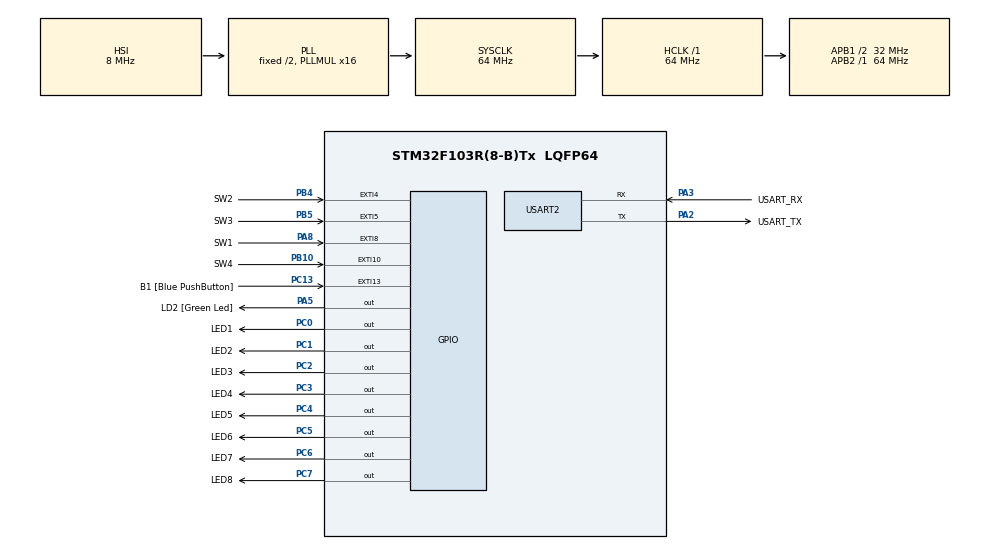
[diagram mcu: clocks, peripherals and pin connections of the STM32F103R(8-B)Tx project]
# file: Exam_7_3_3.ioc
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Mcu.Family=STM32F1
Mcu.Name=STM32F103R(8-B)Tx
Mcu.Package=LQFP64
NVIC.EXTI15_10_IRQn=true\:0\:0\:false\:false\:true\:true\:true\:true
NVIC.EXTI4_IRQn=true\:0\:0\:false\:false\:true\:true\:true\:true
NVIC.EXTI9_5_IRQn=true\:0\:0\:false\:false\:true\:true\:true\:true
NVIC.PriorityGroup=NVIC_PRIORITYGROUP_4
PA13.GPIO_Label=TMS
PA13.Mode=Serial_Wire
PA13.Signal=SYS_JTMS-SWDIO
PA14.GPIO_Label=TCK
PA14.Mode=Serial_Wire
PA14.Signal=SYS_JTCK-SWCLK
PA2.GPIO_Label=USART_TX
PA2.GPIO_Mode=GPIO_MODE_AF_PP
PA2.GPIO_PuPd=GPIO_NOPULL
PA2.GPIO_Speed=GPIO_SPEED_FREQ_LOW
PA2.Mode=Asynchronous
PA2.Signal=USART2_TX
PA3.GPIO_Label=USART_RX
PA3.GPIO_Mode=GPIO_MODE_AF_PP
PA3.GPIO_PuPd=GPIO_NOPULL
PA3.GPIO_Speed=GPIO_SPEED_FREQ_LOW
PA3.Mode=Asynchronous
PA3.Signal=USART2_RX
PA5.GPIO_Label=LD2 [Green Led]
PA5.GPIO_ModeDefaultOutputPP=GPIO_MODE_OUTPUT_PP
PA5.GPIO_PuPd=GPIO_NOPULL
PA5.GPIO_Speed=GPIO_SPEED_FREQ_LOW
PA5.Signal=GPIO_Output
PA8.GPIO_Label=SW1
PA8.GPIO_ModeDefaultEXTI=GPIO_MODE_IT_FALLING
PA8.Signal=GPXTI8
PB10.GPIO_Label=SW4
PB10.GPIO_ModeDefaultEXTI=GPIO_MODE_IT_FALLING
PB10.Signal=GPXTI10
PB3.GPIO_Label=SWO
PB3.Signal=SYS_JTDO-TRACESWO
PB4.GPIO_Label=SW2
PB4.GPIO_ModeDefaultEXTI=GPIO_MODE_IT_FALLING
PB4.Signal=GPXTI4
PB5.GPIO_Label=SW3
PB5.GPIO_ModeDefaultEXTI=GPIO_MODE_IT_FALLING
PB5.Signal=GPXTI5
PC0.GPIO_Label=LED1
PC0.Signal=GPIO_Output
PC1.GPIO_Label=LED2
PC1.Signal=GPIO_Output
PC13-TAMPER-RTC.GPIO_Label=B1 [Blue PushButton]
PC13-TAMPER-RTC.GPIO_PuPd=GPIO_NOPULL
PC13-TAMPER-RTC.Signal=GPXTI13
PC14-OSC32_IN.Mode=LSE-External-Oscillator
PC14-OSC32_IN.Signal=RCC_OSC32_IN
PC15-OSC32_OUT.Mode=LSE-External-Oscillator
PC15-OSC32_OUT.Signal=RCC_OSC32_OUT
PC2.GPIO_Label=LED3
PC2.Signal=GPIO_Output
PC3.GPIO_Label=LED4
PC3.Signal=GPIO_Output
PC4.GPIO_Label=LED5
PC4.Signal=GPIO_Output
PC5.GPIO_Label=LED6
PC5.Signal=GPIO_Output
PC6.GPIO_Label=LED7
PC6.Signal=GPIO_Output
PC7.GPIO_Label=LED8
PC7.Signal=GPIO_Output
PD0-OSC_IN.Mode=HSE-External-Clock-Source
PD0-OSC_IN.Signal=RCC_OSC_IN
PD1-OSC_OUT.Mode=HSE-External-Clock-Source
PD1-OSC_OUT.Signal=RCC_OSC_OUT
ProjectManager.HeapSize=0x200
ProjectManager.StackSize=0x400
ProjectManager.TargetToolchain=STM32CubeIDE
RCC.AHBFreq_Value=64000000
RCC.APB1CLKDivider=RCC_HCLK_DIV2
RCC.APB1Freq_Value=32000000
RCC.APB1TimFreq_Value=64000000
RCC.APB2Freq_Value=64000000
RCC.APB2TimFreq_Value=64000000
RCC.HCLKFreq_Value=64000000
RCC.PLLMUL=RCC_PLL_MUL16
RCC.RTCClockSelection=RCC_RTCCLKSOURCE_LSE
RCC.SYSCLKFreq_VALUE=64000000
RCC.SYSCLKSource=RCC_SYSCLKSOURCE_PLLCLK
RCC.USBFreq_Value=64000000
USART2.VirtualMode=VM_ASYNC
board=NUCLEO-F103RB

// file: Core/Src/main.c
/* USER CODE BEGIN Header */
/**
  ******************************************************************************
  * @file           : main.c
  * @brief          : Main program body
  ******************************************************************************
  * @attention
  *
  * Copyright (c) 2022 STMicroelectronics.
  * All rights reserved.
  *
  * This software is licensed under terms that can be found in the LICENSE file
  * in the root directory of this software component.
  * If no LICENSE file comes with this software, it is provided AS-IS.
  *
  ******************************************************************************
  */
/* USER CODE END Header */
#include "main.h"

 UART_HandleTypeDef huart2;

/* USER CODE BEGIN PV */
 uint8_t flag_SW1 = 0;
 uint8_t flag_SW2 = 0;
 uint8_t flag_SW3 = 0;
 uint8_t flag_SW4 = 0;
/* USER CODE END PV */

void SystemClock_Config(void);
static void MX_GPIO_Init(void);
static void MX_USART2_UART_Init(void);

/* USER CODE BEGIN 0 */
void HAL_GPIO_EXTI_Callback(uint16_t GPIO_Pin) {
	  if(GPIO_Pin == GPIO_PIN_8) {
		  flag_SW1 = !flag_SW1;
	  }
	  if(GPIO_Pin == GPIO_PIN_4) {
		  flag_SW2 = !flag_SW2;
	  }
	  if(GPIO_Pin == GPIO_PIN_5) {
		  flag_SW3 = !flag_SW3;
	  }
	  if(GPIO_Pin == GPIO_PIN_10) {
	  	  flag_SW4 = !flag_SW4;
	  }
}
/* USER CODE END 0 */

int main(void)
{

  /* MCU Configuration--------------------------------------------------------*/

  /* Reset of all peripherals, Initializes the Flash interface and the Systick. */
  HAL_Init();

  /* Configure the system clock */
  SystemClock_Config();

  /* Initialize all configured peripherals */
  MX_GPIO_Init();
  MX_USART2_UART_Init();

  /* Infinite loop */
  /* USER CODE BEGIN WHILE */
  while (1)
  {
	  if(flag_SW1 == 1) {
		  HAL_GPIO_TogglePin(GPIOC, 0x03);
	  }
	  if(flag_SW2 == 1) {
		  HAL_GPIO_TogglePin(GPIOC, 0x0c);
	  }
	  if(flag_SW3 == 1) {
		  HAL_GPIO_TogglePin(GPIOC, 0x30);
	  }
	  if(flag_SW4 == 1) {
		  HAL_GPIO_TogglePin(GPIOC, 0xc0);
	  }
    /* USER CODE END WHILE */

  }
}

void SystemClock_Config(void)
{
  RCC_OscInitTypeDef RCC_OscInitStruct = {0};
  RCC_ClkInitTypeDef RCC_ClkInitStruct = {0};

  /** Initializes the RCC Oscillators according to the specified parameters
  * in the RCC_OscInitTypeDef structure.
  */
  RCC_OscInitStruct.OscillatorType = RCC_OSCILLATORTYPE_HSI;
  RCC_OscInitStruct.HSIState = RCC_HSI_ON;
  RCC_OscInitStruct.HSICalibrationValue = RCC_HSICALIBRATION_DEFAULT;
  RCC_OscInitStruct.PLL.PLLState = RCC_PLL_ON;
  RCC_OscInitStruct.PLL.PLLSource = RCC_PLLSOURCE_HSI_DIV2;
  RCC_OscInitStruct.PLL.PLLMUL = RCC_PLL_MUL16;
  if (HAL_RCC_OscConfig(&RCC_OscInitStruct) != HAL_OK)
  {
    Error_Handler();
  }

  /** Initializes the CPU, AHB and APB buses clocks
  */
  RCC_ClkInitStruct.ClockType = RCC_CLOCKTYPE_HCLK|RCC_CLOCKTYPE_SYSCLK
                              |RCC_CLOCKTYPE_PCLK1|RCC_CLOCKTYPE_PCLK2;
  RCC_ClkInitStruct.SYSCLKSource = RCC_SYSCLKSOURCE_PLLCLK;
  RCC_ClkInitStruct.AHBCLKDivider = RCC_SYSCLK_DIV1;
  RCC_ClkInitStruct.APB1CLKDivider = RCC_HCLK_DIV2;
  RCC_ClkInitStruct.APB2CLKDivider = RCC_HCLK_DIV1;

  if (HAL_RCC_ClockConfig(&RCC_ClkInitStruct, FLASH_LATENCY_2) != HAL_OK)
  {
    Error_Handler();
  }
}

static void MX_USART2_UART_Init(void)
{

  huart2.Instance = USART2;
  huart2.Init.BaudRate = 115200;
  huart2.Init.WordLength = UART_WORDLENGTH_8B;
  huart2.Init.StopBits = UART_STOPBITS_1;
  huart2.Init.Parity = UART_PARITY_NONE;
  huart2.Init.Mode = UART_MODE_TX_RX;
  huart2.Init.HwFlowCtl = UART_HWCONTROL_NONE;
  huart2.Init.OverSampling = UART_OVERSAMPLING_16;
  if (HAL_UART_Init(&huart2) != HAL_OK)
  {
    Error_Handler();
  }

}

static void MX_GPIO_Init(void)
{
  GPIO_InitTypeDef GPIO_InitStruct = {0};

  /* GPIO Ports Clock Enable */
  __HAL_RCC_GPIOC_CLK_ENABLE();
  __HAL_RCC_GPIOD_CLK_ENABLE();
  __HAL_RCC_GPIOA_CLK_ENABLE();
  __HAL_RCC_GPIOB_CLK_ENABLE();

  /*Configure GPIO pin Output Level */
  HAL_GPIO_WritePin(GPIOC, LED1_Pin|LED2_Pin|LED3_Pin|LED4_Pin
                          |LED5_Pin|LED6_Pin|LED7_Pin|LED8_Pin, GPIO_PIN_RESET);

  /*Configure GPIO pin Output Level */
  HAL_GPIO_WritePin(LD2_GPIO_Port, LD2_Pin, GPIO_PIN_RESET);

  /*Configure GPIO pin : B1_Pin */
  GPIO_InitStruct.Pin = B1_Pin;
  GPIO_InitStruct.Mode = GPIO_MODE_IT_RISING;
  GPIO_InitStruct.Pull = GPIO_NOPULL;
  HAL_GPIO_Init(B1_GPIO_Port, &GPIO_InitStruct);

  /*Configure GPIO pins : LED1_Pin LED2_Pin LED3_Pin LED4_Pin
                           LED5_Pin LED6_Pin LED7_Pin LED8_Pin */
  GPIO_InitStruct.Pin = LED1_Pin|LED2_Pin|LED3_Pin|LED4_Pin
                          |LED5_Pin|LED6_Pin|LED7_Pin|LED8_Pin;
  GPIO_InitStruct.Mode = GPIO_MODE_OUTPUT_PP;
  GPIO_InitStruct.Pull = GPIO_NOPULL;
  GPIO_InitStruct.Speed = GPIO_SPEED_FREQ_LOW;
  HAL_GPIO_Init(GPIOC, &GPIO_InitStruct);

  /*Configure GPIO pin : LD2_Pin */
  GPIO_InitStruct.Pin = LD2_Pin;
  GPIO_InitStruct.Mode = GPIO_MODE_OUTPUT_PP;
  GPIO_InitStruct.Pull = GPIO_NOPULL;
  GPIO_InitStruct.Speed = GPIO_SPEED_FREQ_LOW;
  HAL_GPIO_Init(LD2_GPIO_Port, &GPIO_InitStruct);

  /*Configure GPIO pins : SW4_Pin SW2_Pin SW3_Pin */
  GPIO_InitStruct.Pin = SW4_Pin|SW2_Pin|SW3_Pin;
  GPIO_InitStruct.Mode = GPIO_MODE_IT_FALLING;
  GPIO_InitStruct.Pull = GPIO_NOPULL;
  HAL_GPIO_Init(GPIOB, &GPIO_InitStruct);

  /*Configure GPIO pin : SW1_Pin */
  GPIO_InitStruct.Pin = SW1_Pin;
  GPIO_InitStruct.Mode = GPIO_MODE_IT_FALLING;
  GPIO_InitStruct.Pull = GPIO_NOPULL;
  HAL_GPIO_Init(SW1_GPIO_Port, &GPIO_InitStruct);

  /* EXTI interrupt init*/
  HAL_NVIC_SetPriority(EXTI4_IRQn, 0, 0);
  HAL_NVIC_EnableIRQ(EXTI4_IRQn);

  HAL_NVIC_SetPriority(EXTI9_5_IRQn, 0, 0);
  HAL_NVIC_EnableIRQ(EXTI9_5_IRQn);

  HAL_NVIC_SetPriority(EXTI15_10_IRQn, 0, 0);
  HAL_NVIC_EnableIRQ(EXTI15_10_IRQn);

}

void Error_Handler(void)
{
  __disable_irq();
  while (1)
  {
  }
}
